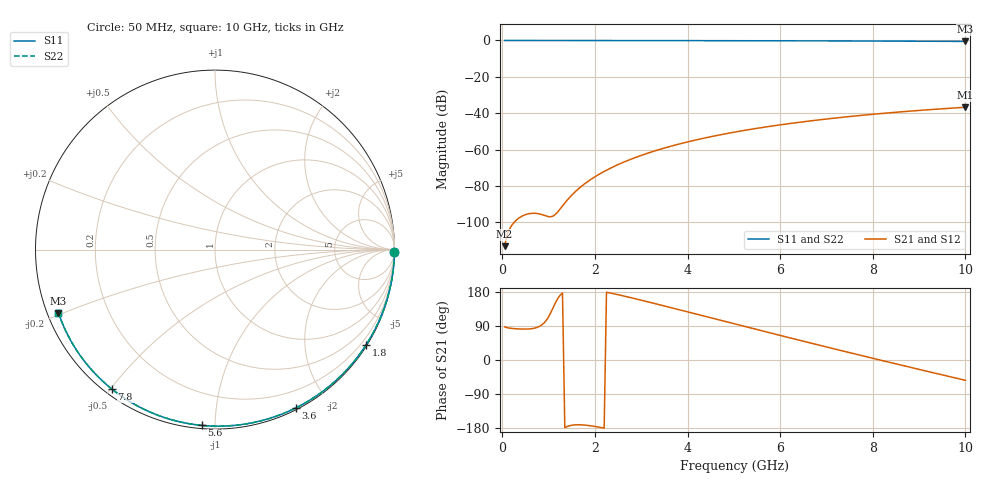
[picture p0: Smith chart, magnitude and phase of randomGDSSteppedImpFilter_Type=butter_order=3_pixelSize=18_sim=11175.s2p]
! freq	dB(S11)	phase(S11)	dB(S12)	phase(S12)
!  dB(S21)	phase(S21)	dB(S22)	phase(S22)
!S-par simulation data
#  GHz  S  DB  R 50
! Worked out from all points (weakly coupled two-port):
!   200 points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, 50 MHz to 10 GHz, reference 50 ohm
!   highest |S21| = -36.75 dB at 10 GHz (marker M1); lowest = -113.1 dB at 50 MHz (marker M2)
!   lowest |S11| = -0.5 dB at 10 GHz (marker M3), VSWR 32.80, Z = 1.58 - j9.71 ohm
!   |S11| at or under -10 dB: nowhere
!   |S22| runs from -0.5 to 0.0 dB; largest |S21 - S12| = 0
!   S11 on the Smith chart (normalised r, x): 50 MHz: open; 1.8 GHz: 0.03, -3.45; 3.6 GHz: 0.02, -1.64; 5.6 GHz: 0.02, -0.93; 7.8 GHz: 0.02, -0.50; 10 GHz: 0.03, -0.19
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0.05  -0.00 -0.9  -113.14 87.5  -113.14 87.5  -0.00 -0.9
0.45  -0.01 -8.2  -96.33 81.5  -96.33 81.5  -0.01 -8.2
0.9  -0.02 -16.3  -96.15 97.4  -96.15 97.4  -0.02 -16.3
1.7  -0.04 -30.5  -80.41 -171.1  -80.41 -171.1  -0.04 -30.5
1.75  -0.04 -31.4  -79.39 -171.5  -79.39 -171.5  -0.04 -31.4
1.8  -0.04 -32.3  -78.43 -172.0  -78.43 -172.0  -0.04 -32.3
2.1  -0.05 -37.5  -73.45 -177.5  -73.45 -177.5  -0.05 -37.5
2.3  -0.05 -41.0  -70.70 177.7  -70.70 177.7  -0.05 -41.0
2.5  -0.06 -44.4  -68.27 172.3  -68.27 172.3  -0.06 -44.4
2.9  -0.07 -51.2  -64.13 160.8  -64.13 160.8  -0.07 -51.2
3.4  -0.08 -59.6  -59.91 145.7  -59.91 145.7  -0.08 -59.6
3.6  -0.08 -62.9  -58.45 139.5  -58.45 139.5  -0.08 -62.9
4.3  -0.11 -74.2  -54.04 117.7  -54.04 117.7  -0.11 -74.2
5.05  -0.13 -85.9  -50.25 94.3  -50.25 94.3  -0.13 -85.9
5.6  -0.16 -94.3  -47.92 77.2  -47.92 77.2  -0.16 -94.3
6.15  -0.18 -102.5  -45.89 60.2  -45.89 60.2  -0.18 -102.5
6.7  -0.22 -110.6  -44.09 43.5  -44.09 43.5  -0.22 -110.6
7.25  -0.25 -118.5  -42.50 26.9  -42.50 26.9  -0.25 -118.5
7.8  -0.30 -126.4  -41.08 10.4  -41.08 10.4  -0.30 -126.4
8.35  -0.34 -134.2  -39.81 -5.8  -39.81 -5.8  -0.34 -134.2
9.2  -0.43 -146.4  -38.10 -30.6  -38.10 -30.6  -0.43 -146.4
10  -0.53 -158.0  -36.75 -53.6  -36.75 -53.6  -0.53 -158.0
